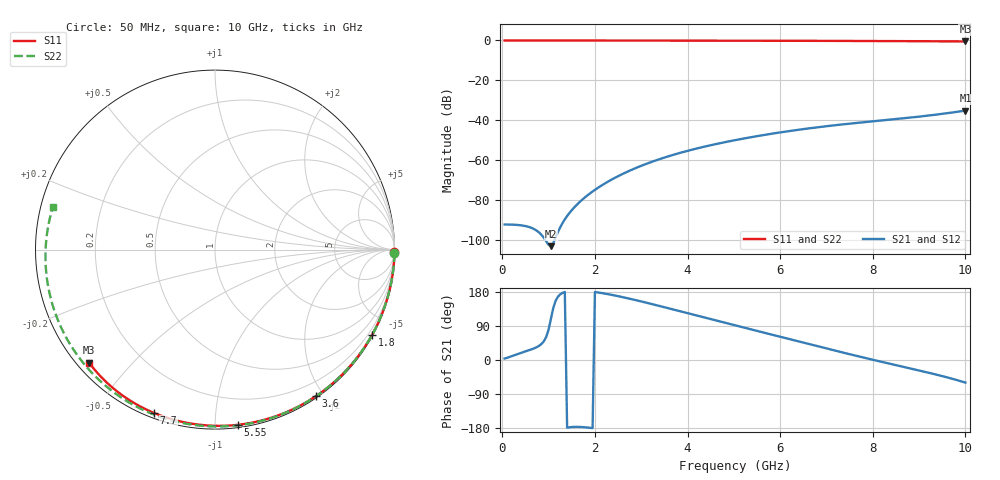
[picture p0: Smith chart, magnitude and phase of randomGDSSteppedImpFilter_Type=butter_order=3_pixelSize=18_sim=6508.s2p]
! freq	dB(S11)	phase(S11)	dB(S12)	phase(S12)
!  dB(S21)	phase(S21)	dB(S22)	phase(S22)
!S-par simulation data
#  GHz  S  DB  R 50
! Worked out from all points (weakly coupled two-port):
!   200 points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, 50 MHz to 10 GHz, reference 50 ohm
!   highest |S21| = -35.07 dB at 10 GHz (marker M1); lowest = -102.9 dB at 1.05 GHz (marker M2)
!   lowest |S11| = -0.5 dB at 10 GHz (marker M3), VSWR 33.91, Z = 1.69 - j19.1 ohm
!   |S11| at or under -10 dB: nowhere
!   |S22| runs from -0.6 to 0.0 dB; largest |S21 - S12| = 0
!   S11 on the Smith chart (normalised r, x): 50 MHz: open; 1.8 GHz: 0.03, -3.96; 3.6 GHz: 0.02, -1.90; 5.55 GHz: 0.02, -1.14; 7.7 GHz: 0.02, -0.69; 10 GHz: 0.03, -0.38
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0.05  -0.00 -0.8  -92.03 3.9  -92.03 3.9  -0.00 -1.1
0.55  -0.01 -8.8  -93.10 24.7  -93.10 24.7  -0.01 -12.4
1.05  -0.02 -16.7  -102.87 108.1  -102.87 108.1  -0.03 -23.5
1.7  -0.03 -26.8  -80.16 -176.8  -80.16 -176.8  -0.05 -37.7
1.75  -0.04 -27.6  -79.14 -177.2  -79.14 -177.2  -0.05 -38.8
1.8  -0.04 -28.4  -78.18 -177.7  -78.18 -177.7  -0.05 -39.9
2.1  -0.04 -33.0  -73.16 177.6  -73.16 177.6  -0.06 -46.3
2.5  -0.05 -39.1  -67.88 168.5  -67.88 168.5  -0.07 -54.7
2.95  -0.06 -45.8  -63.15 156.0  -63.15 156.0  -0.08 -64.0
3.4  -0.07 -52.5  -59.32 142.4  -59.32 142.4  -0.10 -73.1
3.6  -0.07 -55.4  -57.83 136.2  -57.83 136.2  -0.10 -77.1
4.3  -0.09 -65.5  -53.46 114.1  -53.46 114.1  -0.13 -90.7
5.05  -0.12 -75.9  -49.75 90.7  -49.75 90.7  -0.16 -104.7
5.55  -0.14 -82.7  -47.66 75.2  -47.66 75.2  -0.19 -113.8
6.1  -0.16 -90.0  -45.64 58.2  -45.64 58.2  -0.22 -123.7
6.7  -0.19 -97.8  -43.73 39.6  -43.73 39.6  -0.26 -134.4
7.2  -0.22 -104.1  -42.36 24.3  -42.36 24.3  -0.30 -143.2
7.7  -0.25 -110.4  -41.13 9.4  -41.13 9.4  -0.34 -152.1
8.35  -0.30 -118.4  -39.65 -9.3  -39.65 -9.3  -0.40 -163.7
8.8  -0.35 -123.8  -38.60 -22.0  -38.60 -22.0  -0.45 -171.9
9.2  -0.39 -128.6  -37.57 -33.5  -37.57 -33.5  -0.50 -179.3
10  -0.51 -138.1  -35.07 -59.6  -35.07 -59.6  -0.59 165.2
